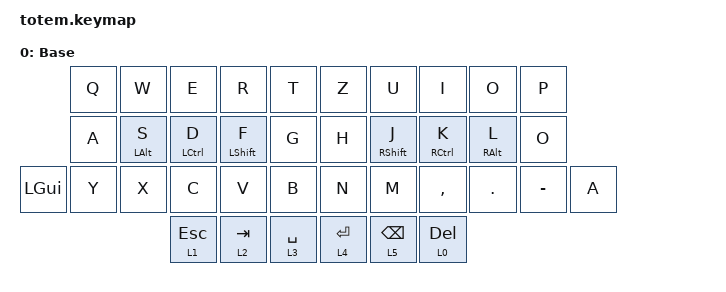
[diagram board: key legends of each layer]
// ▄▄▄▄▄▄▄▄▄▄▄▄▄▄▄▄▄▄▄▄▄▄▄▄▄▄▄▄▄▄▄▄▄▄▄▄▄▄▄▄▄▄▄▄▄
//
//
//    ▀▀▀▀▀     ▀▀▀▀▀          ▀▀█▀▀
//    ▄▀▀▀▄  ▄  ▄▀▀▀▄  ▄  ▄▀▀▀▄  █  ▄▀▀▀▄
//    █   █  █  █   █  █  █   █  █  █   █
//     ▀▀▀   █   ▀▀▀   █   ▀▀▀   ▀   ▀▀▀
//           █      ▄▄▄█▄▄▄    █   █
//           ▀      █  █  █     █▄█
//         ▀▀▀▀▀    █  █  █      ▀
//                  ▀  ▀  ▀
//
// ▄▄▄▄▄▄▄▄▄▄▄▄▄▄▄▄▄▄▄▄▄▄▄▄▄▄▄▄▄▄▄▄▄▄▄▄▄▄▄▄▄▄▄▄▄
//
// https://zmk.dev/docs/keymaps
// https://nickcoutsos.github.io/keymap-editor
//
// ▄▄▄▄▄▄▄▄▄▄▄▄▄▄▄▄▄▄▄▄▄▄▄▄▄▄▄▄▄▄▄▄▄▄▄▄▄▄▄▄▄▄▄▄▄

#include <behaviors.dtsi>
#include <dt-bindings/zmk/keys.h>

#define Base       0

&lt {
    tapping-term-ms = <240>;
    flavor = "balanced";
    quick-tap-ms = <150>;
};

/ {
    behaviors {
        lh_hm: lh_hm {
            compatible = "zmk,behavior-hold-tap";
            label = "LH_HM";
            bindings = <&kp>, <&kp>;

            #binding-cells = <2>;
            tapping-term-ms = <100>;
            flavor = "tap-unless-interrupted";
            quick-tap-ms = <200>;
            hold-trigger-key-positions = <5 6 7 8 9 15 16 17 18 19 26 27 28 29 30>;
        };

        rh_hm: rh_hm {
            compatible = "zmk,behavior-hold-tap";
            label = "RH_HM";
            bindings = <&kp>, <&kp>;

            #binding-cells = <2>;
            tapping-term-ms = <100>;
            flavor = "tap-unless-interrupted";
            quick-tap-ms = <200>;
            hold-trigger-key-positions = <0 1 2 3 4 10 11 12 13 14 21 22 23 24 25>;
        };
    };

    keymap {
        compatible = "zmk,keymap";

        //             ┏━━━━━━━━━━━┳━━━━━━━━━━━┳━━━━━━━━━━━┳━━━━━━━━━━━┳━━━━━━━━━━━┓   ┏━━━━━━━━━━━┳━━━━━━━━━━━┳━━━━━━━━━━━┳━━━━━━━━━━━┳━━━━━━━━━━━┓
        //             ┃0    Q     ┃1    W     ┃2    E     ┃3    R     ┃4    T     ┃   ┃5    Z     ┃6    U     ┃7    I     ┃8    O     ┃9    P     ┃
        //             ┣━━━━━━━━━━━╋━━━━━━━━━━━╋━━━━━━━━━━━╋━━━━━━━━━━━╋━━━━━━━━━━━┫   ┣━━━━━━━━━━━╋━━━━━━━━━━━╋━━━━━━━━━━━╋━━━━━━━━━━━╋━━━━━━━━━━━┫
        //             ┃10 LGUI A  ┃11 LALT S  ┃12 LCTRL D ┃13 LSHIFT F┃14   G     ┃   ┃15    H    ┃16 RSHFT J ┃17 RCTRL K ┃18 RALT L  ┃19   O     ┃
        // ┏━━━━━━━━━━━╋━━━━━━━━━━━╋━━━━━━━━━━━╋━━━━━━━━━━━╋━━━━━━━━━━━╋━━━━━━━━━━━┫   ┣━━━━━━━━━━━╋━━━━━━━━━━━╋━━━━━━━━━━━╋━━━━━━━━━━━╋━━━━━━━━━━━╋━━━━━━━━━━━┓
        // ┃20         ┃21   Y     ┃22   X     ┃23   C     ┃24   V     ┃25   B     ┃   ┃26   N     ┃27   M     ┃28   ,     ┃29   .     ┃30   -     ┃31         ┃
        // ┗━━━━━━━━━━━┻━━━━━━━━━━━┻━━━━━━━━━━━╋━━━━━━━━━━━╋━━━━━━━━━━━╋━━━━━━━━━━━┫   ┣━━━━━━━━━━━╋━━━━━━━━━━━╋━━━━━━━━━━━╋━━━━━━━━━━━┻━━━━━━━━━━━┻━━━━━━━━━━━┛
        //                                     ┃32 L1 ESC  ┃33 L2 TAB  ┃34 L3 SPC  ┃   ┃35 L4 ENTER┃36 L5 BSPC ┃37 L0 DEL  ┃
        //                                     ┗━━━━━━━━━━━┻━━━━━━━━━━━┻━━━━━━━━━━━┛   ┗━━━━━━━━━━━┻━━━━━━━━━━━┻━━━━━━━━━━━┛

        Base {
            display-name = "Base";
            bindings = <
              &kp Q  &kp W          &kp E           &kp R            &kp T          &kp Z        &kp U            &kp I           &kp O          &kp P
              &kp A  &lh_hm LALT S  &lh_hm LCTRL D  &lh_hm LSHIFT F  &kp G          &kp H        &rh_hm RSHFT J   &rh_hm RCTRL K  &rh_hm RALT L  &kp O
&kp LEFT_GUI  &kp Y  &kp X          &kp C           &kp V            &kp B          &kp N        &kp M            &kp COMMA       &kp PERIOD     &kp MINUS  &kp A
                                    &lt 1 ESCAPE    &lt 2 TAB        &lt 3 SPACE    &lt 4 ENTER  &lt 5 BACKSPACE  &lt 0 DELETE
            >;
        };
    };
};
